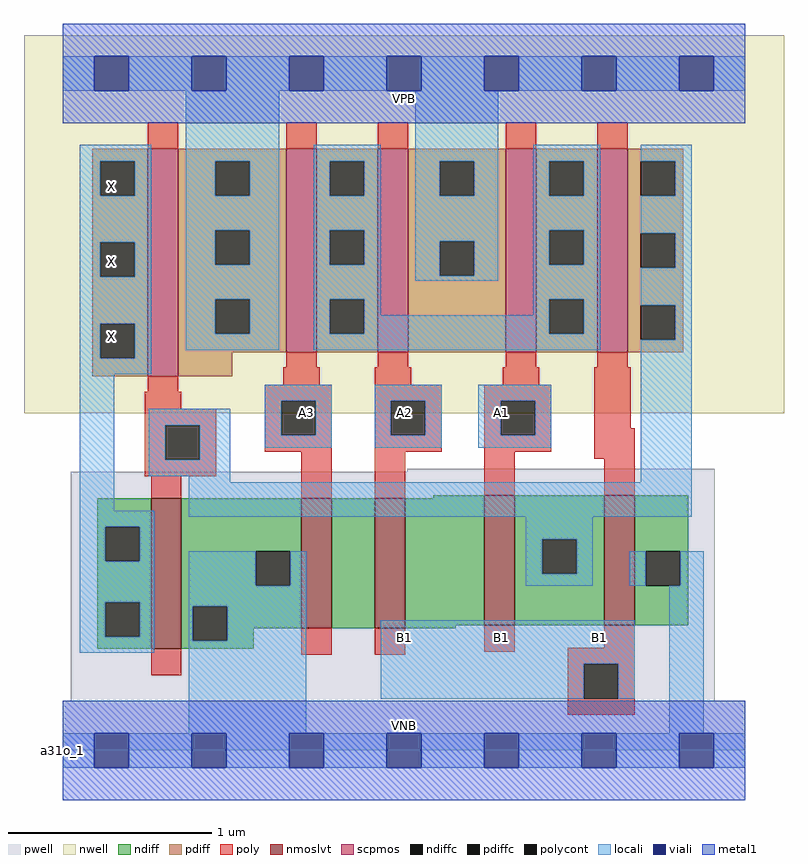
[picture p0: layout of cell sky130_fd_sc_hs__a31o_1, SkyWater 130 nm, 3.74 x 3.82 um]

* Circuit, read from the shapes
.subckt sky130_fd_sc_hs__a31o_1 A1 A2 A3 B1 VGND VNB VPB VPWR X
XM1 VGND n1 X VNB sky130_fd_pr__nfet_01v8_lvt w=0.74 l=0.15
XM2 n2 A3 VGND VNB sky130_fd_pr__nfet_01v8_lvt w=0.64 l=0.15
XM3 n3 A2 n2 VNB sky130_fd_pr__nfet_01v8_lvt w=0.64 l=0.15
XM4 n1 A1 n3 VNB sky130_fd_pr__nfet_01v8_lvt w=0.64 l=0.15
XM5 VGND B1 n1 VNB sky130_fd_pr__nfet_01v8_lvt w=0.64 l=0.15
XM6 VPWR n1 X VPB sky130_fd_pr__pfet_01v8 w=1.12 l=0.15
XM7 n4 A3 VPWR VPB sky130_fd_pr__pfet_01v8 w=1 l=0.15
XM8 VPWR A2 n4 VPB sky130_fd_pr__pfet_01v8 w=1 l=0.15
XM9 n4 A1 VPWR VPB sky130_fd_pr__pfet_01v8 w=1 l=0.15
XM10 n1 B1 n4 VPB sky130_fd_pr__pfet_01v8 w=1 l=0.15
.ends

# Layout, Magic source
magic
tech sky130A
magscale 1 2
<< nwell >>
rect -38 332 710 704
<< pwell >>
rect 339 274 642 277
rect 8 49 642 274
rect 0 0 672 49
<< scpmos >>
rect 84 368 114 592
rect 220 392 250 592
rect 310 392 340 592
rect 436 392 466 592
rect 526 392 556 592
<< nmoslvt >>
rect 87 100 117 248
rect 235 120 265 248
rect 307 120 337 248
rect 415 123 445 251
rect 533 123 563 251
<< ndiff >>
rect 365 248 415 251
rect 34 220 87 248
rect 34 186 42 220
rect 76 186 87 220
rect 34 146 87 186
rect 34 112 42 146
rect 76 112 87 146
rect 34 100 87 112
rect 117 196 235 248
rect 117 162 190 196
rect 224 162 235 196
rect 117 142 235 162
rect 117 108 128 142
rect 162 120 235 142
rect 265 120 307 248
rect 337 123 415 248
rect 445 208 533 251
rect 445 174 472 208
rect 506 174 533 208
rect 445 123 533 174
rect 563 196 616 251
rect 563 162 574 196
rect 608 162 616 196
rect 563 123 616 162
rect 337 120 387 123
rect 162 108 188 120
rect 117 100 188 108
<< pdiff >>
rect 29 580 84 592
rect 29 546 37 580
rect 71 546 84 580
rect 29 500 84 546
rect 29 466 37 500
rect 71 466 84 500
rect 29 420 84 466
rect 29 386 37 420
rect 71 386 84 420
rect 29 368 84 386
rect 114 580 220 592
rect 114 546 150 580
rect 184 546 220 580
rect 114 512 220 546
rect 114 478 150 512
rect 184 478 220 512
rect 114 444 220 478
rect 114 410 150 444
rect 184 410 220 444
rect 114 392 220 410
rect 250 580 310 592
rect 250 546 263 580
rect 297 546 310 580
rect 250 512 310 546
rect 250 478 263 512
rect 297 478 310 512
rect 250 444 310 478
rect 250 410 263 444
rect 297 410 310 444
rect 250 392 310 410
rect 340 580 436 592
rect 340 546 371 580
rect 405 546 436 580
rect 340 501 436 546
rect 340 467 371 501
rect 405 467 436 501
rect 340 392 436 467
rect 466 580 526 592
rect 466 546 479 580
rect 513 546 526 580
rect 466 512 526 546
rect 466 478 479 512
rect 513 478 526 512
rect 466 444 526 478
rect 466 410 479 444
rect 513 410 526 444
rect 466 392 526 410
rect 556 580 611 592
rect 556 546 569 580
rect 603 546 611 580
rect 556 509 611 546
rect 556 475 569 509
rect 603 475 611 509
rect 556 438 611 475
rect 556 404 569 438
rect 603 404 611 438
rect 556 392 611 404
rect 114 368 167 392
<< ndiffc >>
rect 42 186 76 220
rect 42 112 76 146
rect 190 162 224 196
rect 128 108 162 142
rect 472 174 506 208
rect 574 162 608 196
<< pdiffc >>
rect 37 546 71 580
rect 37 466 71 500
rect 37 386 71 420
rect 150 546 184 580
rect 150 478 184 512
rect 150 410 184 444
rect 263 546 297 580
rect 263 478 297 512
rect 263 410 297 444
rect 371 546 405 580
rect 371 467 405 501
rect 479 546 513 580
rect 479 478 513 512
rect 479 410 513 444
rect 569 546 603 580
rect 569 475 603 509
rect 569 404 603 438
<< poly >>
rect 84 592 114 618
rect 220 592 250 618
rect 310 592 340 618
rect 436 592 466 618
rect 526 592 556 618
rect 220 377 250 392
rect 310 377 340 392
rect 436 377 466 392
rect 526 377 556 392
rect 84 353 114 368
rect 217 360 253 377
rect 307 360 343 377
rect 433 360 469 377
rect 81 336 117 353
rect 199 344 265 360
rect 81 320 151 336
rect 81 286 101 320
rect 135 286 151 320
rect 199 310 215 344
rect 249 310 265 344
rect 199 294 265 310
rect 81 270 151 286
rect 87 248 117 270
rect 235 248 265 294
rect 307 344 373 360
rect 307 310 323 344
rect 357 310 373 344
rect 307 294 373 310
rect 415 344 481 360
rect 415 310 431 344
rect 465 310 481 344
rect 415 294 481 310
rect 523 317 559 377
rect 307 248 337 294
rect 415 251 445 294
rect 523 287 563 317
rect 533 251 563 287
rect 87 74 117 100
rect 235 94 265 120
rect 307 94 337 120
rect 415 97 445 123
rect 533 101 563 123
rect 497 85 563 101
rect 497 51 513 85
rect 547 51 563 85
rect 497 35 563 51
<< polycont >>
rect 101 286 135 320
rect 215 310 249 344
rect 323 310 357 344
rect 431 310 465 344
rect 513 51 547 85
<< locali >>
rect 0 649 31 683
rect 65 649 127 683
rect 161 649 223 683
rect 257 649 319 683
rect 353 649 415 683
rect 449 649 511 683
rect 545 649 607 683
rect 641 649 672 683
rect 17 580 87 596
rect 17 546 37 580
rect 71 546 87 580
rect 17 500 87 546
rect 17 466 37 500
rect 71 466 87 500
rect 17 420 87 466
rect 17 386 37 420
rect 71 386 87 420
rect 121 580 213 649
rect 121 546 150 580
rect 184 546 213 580
rect 121 512 213 546
rect 121 478 150 512
rect 184 478 213 512
rect 121 444 213 478
rect 121 410 150 444
rect 184 410 213 444
rect 121 394 213 410
rect 247 580 313 596
rect 247 546 263 580
rect 297 546 313 580
rect 247 512 313 546
rect 247 478 263 512
rect 297 478 313 512
rect 247 444 313 478
rect 347 580 429 649
rect 347 546 371 580
rect 405 546 429 580
rect 347 501 429 546
rect 347 467 371 501
rect 405 467 429 501
rect 347 462 429 467
rect 463 580 529 596
rect 463 546 479 580
rect 513 546 529 580
rect 463 512 529 546
rect 463 478 479 512
rect 513 478 529 512
rect 247 410 263 444
rect 297 428 313 444
rect 463 444 529 478
rect 463 428 479 444
rect 297 410 479 428
rect 513 410 529 444
rect 247 394 529 410
rect 569 580 619 596
rect 603 546 619 580
rect 569 509 619 546
rect 603 475 619 509
rect 569 438 619 475
rect 603 404 619 438
rect 17 370 87 386
rect 17 236 51 370
rect 199 344 265 360
rect 85 320 165 336
rect 85 286 101 320
rect 135 286 165 320
rect 199 310 215 344
rect 249 310 265 344
rect 199 298 265 310
rect 307 344 373 360
rect 307 310 323 344
rect 357 310 373 344
rect 307 298 373 310
rect 409 344 481 360
rect 409 310 431 344
rect 465 310 481 344
rect 409 298 481 310
rect 85 270 165 286
rect 124 264 165 270
rect 569 264 619 404
rect 17 220 90 236
rect 124 230 619 264
rect 17 186 42 220
rect 76 186 90 220
rect 456 208 522 230
rect 17 146 90 186
rect 17 112 42 146
rect 76 112 90 146
rect 17 96 90 112
rect 124 162 190 196
rect 224 162 240 196
rect 456 174 472 208
rect 506 174 522 208
rect 456 162 522 174
rect 558 162 574 196
rect 608 162 631 196
rect 124 142 240 162
rect 124 108 128 142
rect 162 108 240 142
rect 124 17 240 108
rect 313 85 563 128
rect 313 51 513 85
rect 547 51 563 85
rect 597 17 631 162
rect 0 -17 31 17
rect 65 -17 127 17
rect 161 -17 223 17
rect 257 -17 319 17
rect 353 -17 415 17
rect 449 -17 511 17
rect 545 -17 607 17
rect 641 -17 672 17
<< viali >>
rect 31 649 65 683
rect 127 649 161 683
rect 223 649 257 683
rect 319 649 353 683
rect 415 649 449 683
rect 511 649 545 683
rect 607 649 641 683
rect 31 -17 65 17
rect 127 -17 161 17
rect 223 -17 257 17
rect 319 -17 353 17
rect 415 -17 449 17
rect 511 -17 545 17
rect 607 -17 641 17
<< metal1 >>
rect 0 683 672 715
rect 0 649 31 683
rect 65 649 127 683
rect 161 649 223 683
rect 257 649 319 683
rect 353 649 415 683
rect 449 649 511 683
rect 545 649 607 683
rect 641 649 672 683
rect 0 617 672 649
rect 0 17 672 49
rect 0 -17 31 17
rect 65 -17 127 17
rect 161 -17 223 17
rect 257 -17 319 17
rect 353 -17 415 17
rect 449 -17 511 17
rect 545 -17 607 17
rect 641 -17 672 17
rect 0 -49 672 -17
<< labels >>
rlabel comment s 0 0 0 0 4 a31o_1
flabel pwell s 0 0 672 49 0 FreeSans 200 0 0 0 VNB
port 6 nsew ground bidirectional
flabel nwell s 0 617 672 666 0 FreeSans 200 0 0 0 VPB
port 7 nsew power bidirectional
flabel metal1 s 0 617 672 666 0 FreeSans 340 0 0 0 VPWR
port 8 nsew power bidirectional
flabel metal1 s 0 0 672 49 0 FreeSans 340 0 0 0 VGND
port 5 nsew ground bidirectional
flabel locali s 31 390 65 424 0 FreeSans 340 0 0 0 X
port 9 nsew signal output
flabel locali s 31 464 65 498 0 FreeSans 340 0 0 0 X
port 9 nsew signal output
flabel locali s 31 538 65 572 0 FreeSans 340 0 0 0 X
port 9 nsew signal output
flabel locali s 223 316 257 350 0 FreeSans 340 0 0 0 A3
port 3 nsew signal input
flabel locali s 319 316 353 350 0 FreeSans 340 0 0 0 A2
port 2 nsew signal input
flabel locali s 415 316 449 350 0 FreeSans 340 0 0 0 A1
port 1 nsew signal input
flabel locali s 319 94 353 128 0 FreeSans 340 0 0 0 B1
port 4 nsew signal input
flabel locali s 415 94 449 128 0 FreeSans 340 0 0 0 B1
port 4 nsew signal input
flabel locali s 511 94 545 128 0 FreeSans 340 0 0 0 B1
port 4 nsew signal input
<< properties >>
string LEFsite unit
string LEFclass CORE
string FIXED_BBOX 0 0 672 666
string GDS_FILE $PDKPATH/libs.ref/sky130_fd_sc_hs/gds/sky130_fd_sc_hs.gds
string LEFsymmetry X Y
string GDS_END 1560860
string GDS_START 1553842
<< end >>
